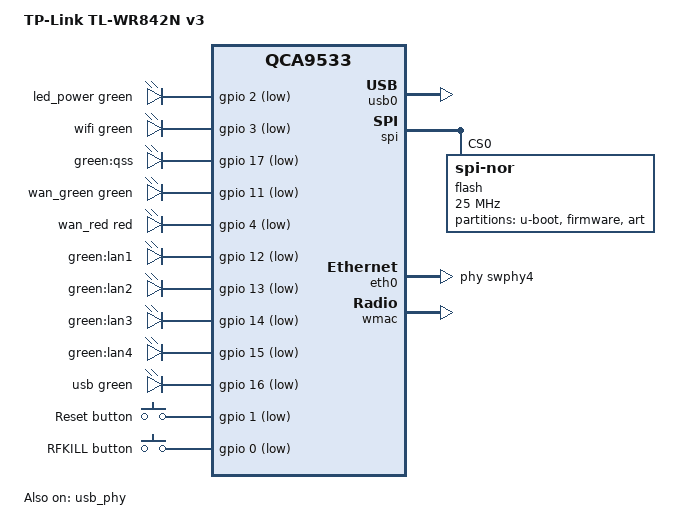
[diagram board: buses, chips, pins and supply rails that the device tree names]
// SPDX-License-Identifier: GPL-2.0-or-later OR MIT

#include "qca953x.dtsi"

#include <dt-bindings/gpio/gpio.h>
#include <dt-bindings/input/input.h>
#include <dt-bindings/leds/common.h>

/ {
	compatible = "tplink,tl-wr842n-v3", "qca,qca9533";
	model = "TP-Link TL-WR842N v3";

	aliases {
		led-boot = &led_power;
		led-failsafe = &led_power;
		led-running = &led_power;
		led-upgrade = &led_power;
		label-mac-device = &eth1;
	};

	leds {
		compatible = "gpio-leds";

		led_power: power {
			function = LED_FUNCTION_POWER;
			color = <LED_COLOR_ID_GREEN>;
			gpios = <&gpio 2 GPIO_ACTIVE_LOW>;
			default-state = "on";
		};

		wifi {
			function = LED_FUNCTION_WLAN;
			color = <LED_COLOR_ID_GREEN>;
			gpios = <&gpio 3 GPIO_ACTIVE_LOW>;
			linux,default-trigger = "phy0tpt";
		};

		qss {
			label = "green:qss";
			gpios = <&gpio 17 GPIO_ACTIVE_LOW>;
		};

		wan_green {
			function = LED_FUNCTION_WAN;
			color = <LED_COLOR_ID_GREEN>;
			gpios = <&gpio 11 GPIO_ACTIVE_LOW>;
		};

		wan_red {
			function = LED_FUNCTION_WAN;
			color = <LED_COLOR_ID_RED>;
			gpios = <&gpio 4 GPIO_ACTIVE_LOW>;
		};

		lan1 {
			label = "green:lan1";
			gpios = <&gpio 12 GPIO_ACTIVE_LOW>;
		};

		lan2 {
			label = "green:lan2";
			gpios = <&gpio 13 GPIO_ACTIVE_LOW>;
		};

		lan3 {
			label = "green:lan3";
			gpios = <&gpio 14 GPIO_ACTIVE_LOW>;
		};

		lan4 {
			label = "green:lan4";
			gpios = <&gpio 15 GPIO_ACTIVE_LOW>;
		};

		usb {
			function = LED_FUNCTION_USB;
			color = <LED_COLOR_ID_GREEN>;
			gpios = <&gpio 16 GPIO_ACTIVE_LOW>;
			linux,default-trigger = "usbport";
			trigger-sources = <&hub_port0>;
		};
	};

	keys {
		compatible = "gpio-keys";

		reset {
			label = "Reset button";
			linux,code = <KEY_RESTART>;
			gpios = <&gpio 1 GPIO_ACTIVE_LOW>;
			debounce-interval = <60>;
		};

		rfkill {
			label = "RFKILL button";
			linux,code = <KEY_RFKILL>;
			gpios = <&gpio 0 GPIO_ACTIVE_LOW>;
			debounce-interval = <60>;
		};
	};
};

&usb0 {
	status = "okay";
};

&usb_phy {
	status = "okay";
};

&spi {
	status = "okay";

	flash@0 {
		compatible = "jedec,spi-nor";
		reg = <0>;
		spi-max-frequency = <25000000>;

		partitions {
			compatible = "fixed-partitions";
			#address-cells = <1>;
			#size-cells = <1>;

			uboot: partition@0 {
				label = "u-boot";
				reg = <0x000000 0x020000>;
				read-only;

				nvmem-layout {
					compatible = "fixed-layout";
					#address-cells = <1>;
					#size-cells = <1>;

					macaddr_uboot_1fc00: macaddr@1fc00 {
						compatible = "mac-base";
						reg = <0x1fc00 0x6>;
						#nvmem-cell-cells = <1>;
					};
				};
			};

			partition@20000 {
				compatible = "tplink,firmware";
				label = "firmware";
				reg = <0x020000 0xfd0000>;
			};

			partition@ff0000 {
				label = "art";
				reg = <0xff0000 0x010000>;
				read-only;

				nvmem-layout {
					compatible = "fixed-layout";
					#address-cells = <1>;
					#size-cells = <1>;

					cal_art_1000: calibration@1000 {
						reg = <0x1000 0x440>;
					};
				};
			};
		};
	};
};

&eth0 {
	status = "okay";

	phy-handle = <&swphy4>;

	nvmem-cells = <&macaddr_uboot_1fc00 1>;
	nvmem-cell-names = "mac-address";
};

&eth1 {
	nvmem-cells = <&macaddr_uboot_1fc00 0>;
	nvmem-cell-names = "mac-address";
};

&wmac {
	status = "okay";

	nvmem-cells = <&macaddr_uboot_1fc00 0>, <&cal_art_1000>;
	nvmem-cell-names = "mac-address", "calibration";
};
